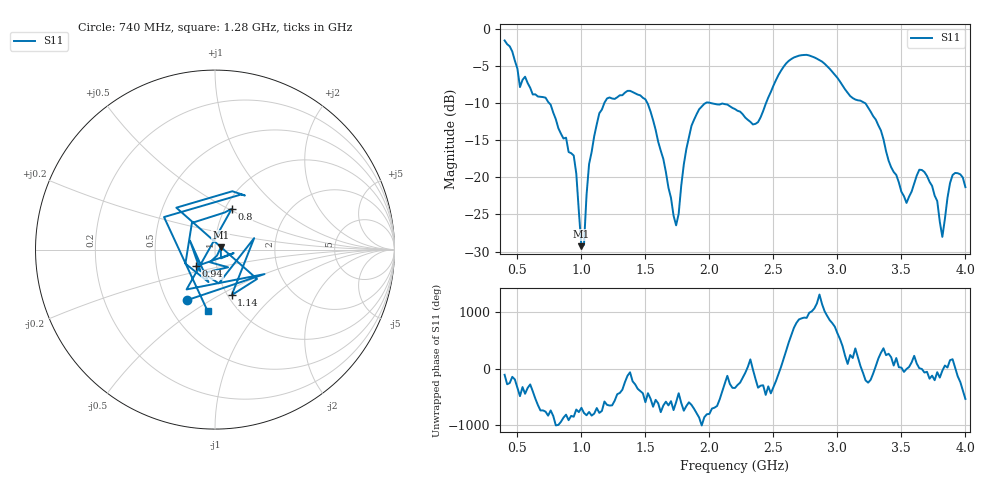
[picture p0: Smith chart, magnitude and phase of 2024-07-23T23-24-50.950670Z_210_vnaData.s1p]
!Created with skrf (http://scikit-rf.org).
# Hz S RI R 50.0
!freq ReS11 ImS11
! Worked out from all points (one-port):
!   181 points, 400 MHz to 4 GHz, reference 50 ohm
!   lowest |S11| = -29.3 dB at 1 GHz (marker M1), VSWR 1.07, Z = 53.3 + j1.3 ohm
!   |S11| at or under -10 dB: 1.515 GHz to 1.971 GHz (456.1 MHz wide, 26.2 % of centre); 2.01 GHz to 2.443 GHz (432.2 MHz wide, 19.4 % of centre); 3.214 GHz to end of sweep (the widest 3 of 4)
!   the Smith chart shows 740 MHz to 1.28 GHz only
!   S11 on the Smith chart (normalised r, x): 740 MHz: 0.63, -0.40; 800 MHz: 1.08, +0.52; 940 MHz: 0.80, -0.15; 1.14 GHz: 1.05, -0.57; 1.28 GHz: 0.73, -0.57
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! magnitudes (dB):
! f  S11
! 400 MHz  -1.6
! 520 MHz  -7.9
! 740 MHz  -9.9
! 800 MHz  -12.2
! 860 MHz  -14.8
! 940 MHz  -17.1
! 1 GHz  -29.3
! 1.02 GHz  -29.1
! 1.06 GHz  -18.2
! 1.14 GHz  -11.4
! 1.28 GHz  -9.2
! 1.3 GHz  -9.0
! 1.52 GHz  -10.2
! 1.74 GHz  -26.5
! 1.76 GHz  -24.9
! 1.82 GHz  -16.2
! 1.92 GHz  -10.8
! 2.2 GHz  -10.8
! 2.38 GHz  -12.6
! 2.66 GHz  -3.9
! 3.1 GHz  -9.1
! 3.3 GHz  -12.2
! 3.56 GHz  -22.6
! 3.68 GHz  -19.3
! 3.78 GHz  -23.2
! 3.82 GHz  -28.0
! 3.9 GHz  -19.7
! 4 GHz  -21.3
